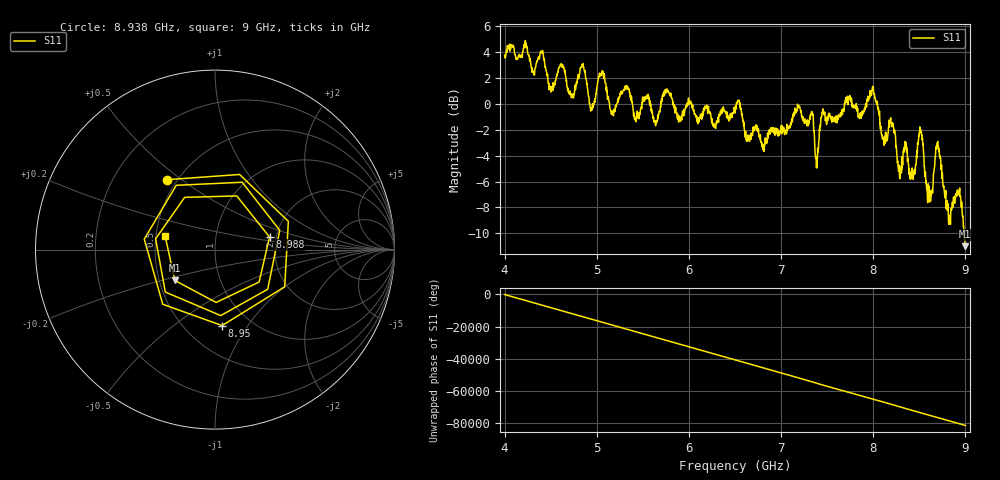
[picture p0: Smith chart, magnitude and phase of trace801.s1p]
! Created with skrf 1.8.0 (http://scikit-rf.org).
# Hz S RI R 50.0
!freq ReS11 ImS11
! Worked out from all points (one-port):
!   1601 points, 4 GHz to 9 GHz, reference 50 ohm
!   lowest |S11| = -11.0 dB at 8.997 GHz (marker M1), VSWR 1.79, Z = 30.1 - j11.3 ohm
!   |S11| at or under -10 dB: 8.986369 GHz to end of sweep
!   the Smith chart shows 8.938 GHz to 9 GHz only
!   S11 on the Smith chart (normalised r, x): 8.938 GHz: 0.44, +0.44; 8.95 GHz: 0.74, -0.77; 8.988 GHz: 1.84, +0.29; 9 GHz: 0.56, +0.09
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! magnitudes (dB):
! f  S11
! 4 GHz  3.8
! 4.625 GHz  2.8
! 4.728 GHz  0.7
! 4.847 GHz  3.0
! 4.944 GHz  -0.3
! 5.044 GHz  2.3
! 5.166 GHz  -0.8
! 5.25 GHz  0.5
! 5.875 GHz  -1.1
! 6.5 GHz  -0.7
! 6.803 GHz  -3.5
! 7.125 GHz  -1.2
! 7.328 GHz  -0.8
! 7.388 GHz  -4.3
! 7.453 GHz  -0.4
! 7.75 GHz  0.6
! 7.991 GHz  1.2
! 8.281 GHz  -4.7
! 8.375 GHz  -4.2
! 8.516 GHz  -2.0
! 8.603 GHz  -7.4
! 8.697 GHz  -3.0
! 8.816 GHz  -8.9
! 8.938 GHz  -6.5
! 8.95 GHz  -7.4
! 8.988 GHz  -10.1
! 8.997 GHz  -11.0
! 9 GHz  -10.8
